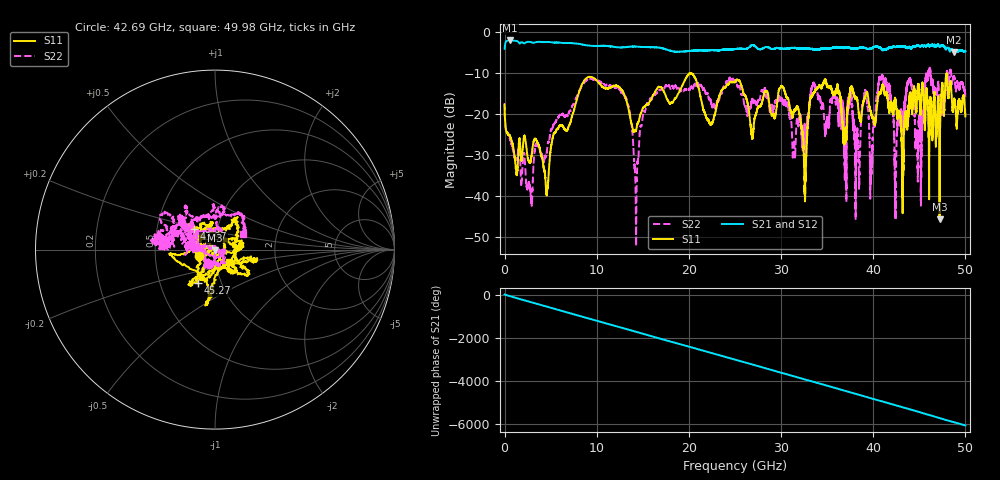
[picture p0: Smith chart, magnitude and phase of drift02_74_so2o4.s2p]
!Created with skrf (http://scikit-rf.org).
# Hz S RI R 50.0
!freq ReS11 ImS11 ReS21 ImS21 ReS12 ImS12 ReS22 ImS22
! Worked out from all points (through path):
!   10001 points, 300 kHz to 50 GHz, reference 50 ohm
!   highest |S21| = -2.00 dB at 610.3 MHz (marker M1); lowest = -4.8 dB at 48.78 GHz (marker M2)
!   group delay of S21, straight-line fit = 337 ps
!   lowest |S11| = -45.6 dB at 47.2 GHz (marker M3), VSWR 1.01, Z = 49.8 - j0.473 ohm
!   |S11| at or under -10 dB: start of sweep to 20.07 GHz; 20.24 GHz to 47.95 GHz (27.71 GHz wide, 81.3 % of centre); 47.96 GHz to end of sweep (the widest 3 of 5)
!   |S22| runs from -52.2 to -8.6 dB; largest |S21 - S12| = 0.031
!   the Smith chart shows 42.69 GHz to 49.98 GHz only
!   S11 on the Smith chart (normalised r, x): 42.69 GHz: 0.83, -0.06; 43.97 GHz: 0.77, +0.18; 45.27 GHz: 0.78, -0.30; 49.98 GHz: 1.15, -0.16
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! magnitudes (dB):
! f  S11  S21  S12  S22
! 300 kHz  -17.7  -4.0  -4.0  -17.3
! 610.3 MHz  -25.5  -2.0  -2.0  -26.2
! 4.565 GHz  -39.7  -2.4  -2.4  -29.4
! 8.335 GHz  -13.0  -2.9  -2.9  -13.2
! 13.01 GHz  -15.3  -3.6  -3.6  -15.7
! 14.28 GHz  -23.8  -3.5  -3.5  -47.8
! 16.67 GHz  -13.3  -3.7  -3.7  -14.5
! 25 GHz  -12.1  -4.1  -4.1  -12.1
! 26.86 GHz  -25.7  -3.1  -3.1  -16.5
! 30.19 GHz  -13.3  -4.1  -4.1  -17.1
! 32.58 GHz  -38.1  -4.0  -4.0  -23.9
! 33.34 GHz  -15.7  -4.0  -4.1  -13.5
! 37.49 GHz  -14.6  -3.8  -3.9  -16.4
! 38.29 GHz  -16.8  -3.9  -3.9  -23.7
! 41.67 GHz  -18.4  -3.8  -3.9  -12.9
! 42.69 GHz  -20.2  -3.5  -3.5  -21.5
! 43.97 GHz  -15.8  -3.6  -3.7  -11.2
! 45.27 GHz  -13.6  -3.3  -3.3  -22.0
! 47.2 GHz  -45.6  -3.5  -3.4  -17.0
! 48.78 GHz  -16.5  -4.8  -4.8  -10.7
! 49.98 GHz  -19.8  -4.6  -4.5  -15.1
! 50 GHz  -20.5  -4.6  -4.6  -15.6
